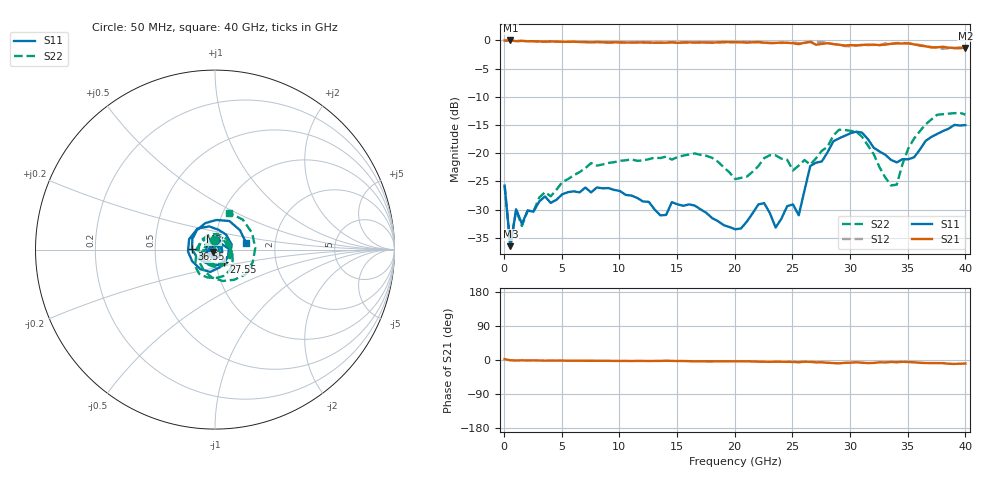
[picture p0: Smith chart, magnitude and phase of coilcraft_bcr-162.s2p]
!Coilcraft BCL-162 Jan 11, 2013
!freq-unit  param-type  data-format  keyword  impedance-ohms
# GHz  S  DB  R  50
!Freq  DBS11  AngS11  DBS21  AngS21  DBS12  AngS12  DBS22  AngS22
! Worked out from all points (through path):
!   81 points, 50 MHz to 40 GHz, reference 50 ohm
!   highest |S21| = -0.01 dB at 550 MHz (marker M1); lowest = -1.3 dB at 40 GHz (marker M2)
!   group delay of S21, straight-line fit = 576 fs
!   lowest |S11| = -36.5 dB at 550 MHz (marker M3), VSWR 1.03, Z = 49.1 - j1.16 ohm
!   |S11| at or under -10 dB: start of sweep to end of sweep
!   |S22| runs from -36.4 to -12.8 dB; largest |S21 - S12| = 0.066
!   S11 on the Smith chart (normalised r, x): 50 MHz: 0.99, +0.10; 27.55 GHz: 1.09, -0.15; 36.55 GHz: 0.77, +0.00; 40 GHz: 1.42, +0.11
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0.05  -25.72 91.0  -0.02 2.3  -0.08 2.5  -25.72 94.7
0.55  -36.46 -128.2  -0.01 -0.8  -0.03 -0.8  -36.45 -71.7
1.05  -29.92 -178.4  -0.14 -1.3  -0.14 -1.3  -30.04 -71.3
1.55  -32.54 169.1  -0.09 -0.9  -0.07 -0.9  -32.89 -38.3
3.55  -27.66 61.5  -0.23 -1.7  -0.22 -1.6  -26.90 49.8
7.05  -26.07 -111.5  -0.29 -2.1  -0.31 -2.2  -22.65 -140.7
10.05  -26.69 111.6  -0.35 -2.5  -0.36 -2.4  -21.34 -0.8
13.55  -31.00 -50.9  -0.41 -2.5  -0.41 -2.3  -20.85 167.2
17.55  -30.57 137.0  -0.38 -3.7  -0.36 -3.6  -20.45 -4.5
20.05  -33.47 -4.9  -0.32 -3.3  -0.28 -3.7  -24.59 125.2
22.55  -28.83 -163.8  -0.41 -4.6  -0.39 -4.2  -20.87 -84.7
23.55  -33.16 147.0  -0.45 -4.4  -0.46 -4.5  -20.38 -48.0
24.55  -29.37 100.5  -0.43 -4.9  -0.42 -5.4  -21.15 1.0
25.55  -30.99 46.4  -0.67 -5.9  -0.48 -5.9  -22.19 59.5
26.55  -22.27 3.3  -0.26 -4.8  -0.27 -5.7  -22.02 113.5
27.05  -21.67 -27.3  -0.77 -6.4  -0.27 -4.1  -20.88 155.6
27.55  -21.45 -55.8  -0.62 -6.0  -0.27 -5.9  -19.58 -179.2
30.55  -16.17 158.1  -0.89 -6.1  -0.89 -6.5  -16.19 -69.6
33.55  -21.17 -11.2  -0.61 -5.3  -0.62 -4.7  -25.71 103.9
36.55  -17.81 179.4  -1.05 -8.0  -0.91 -7.7  -14.88 -75.9
38.55  -15.64 87.3  -1.30 -9.9  -1.38 -8.6  -12.98 2.4
40  -15.01 12.0  -1.34 -9.3  -1.50 -9.1  -13.16 68.5
